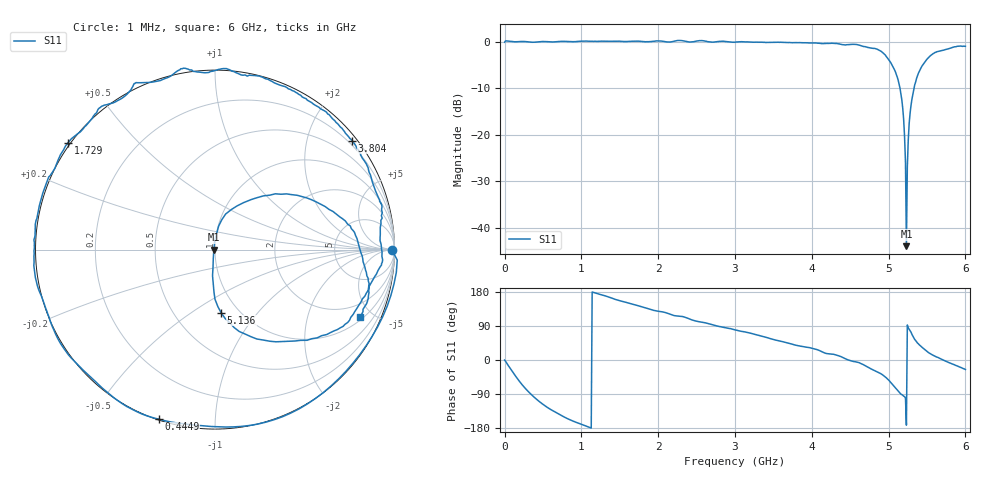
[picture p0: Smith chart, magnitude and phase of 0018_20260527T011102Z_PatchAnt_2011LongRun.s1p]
# Hz S RI R 50
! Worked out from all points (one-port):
!   501 points, 1 MHz to 6 GHz, reference 50 ohm
!   lowest |S11| = -43.9 dB at 5.232 GHz (marker M1), VSWR 1.01, Z = 49.4 - j0.089 ohm
!   |S11| at or under -10 dB: 5.149 GHz to 5.331 GHz (182.7 MHz wide, 3.49 % of centre)
!   S11 on the Smith chart (normalised r, x): 1 MHz: open; 444.9 MHz: 0.00, -0.72; 1.729 GHz: -0.01, +0.33; 3.804 GHz: 0.11, +2.86; 5.136 GHz: 0.83, -0.66; 6 GHz: 1.17, -4.23
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1000000  0.9866 -0.00251
8.4986e7  0.906 -0.4307
2.16964e8  0.4681 -0.8875
3.0095e8  0.1459 -0.9852
4.44926e8  -0.3143 -0.9448
7.56874e8  -0.8561 -0.5301
1.056824e9  -1.007 -0.1065
1.50075e9  -0.9263 0.4049
1.728712e9  -0.8186 0.5956
2.256624e9  -0.4506 0.9253
3.0005e9  0.1797 0.9666
3.756374e9  0.7368 0.6379
3.804366e9  0.7646 0.6069
4.308282e9  0.9282 0.2261
4.50025e9  0.9303 -0.0218
4.872188e9  0.6821 -0.4455
5.028162e9  0.3062 -0.5106
5.136144e9  0.0337 -0.351
5.184136e9  -0.0096 -0.1936
5.196134e9  -0.0137 -0.1459
5.208132e9  -0.0109 -0.095
5.232128e9  -0.00634 -0.000901
5.256124e9  0.00847 0.0871
5.268122e9  0.0204 0.1314
5.292118e9  0.0595 0.1985
5.412098e9  0.3981 0.3105
5.628062e9  0.7721 0.103
6e9  0.808 -0.3743
